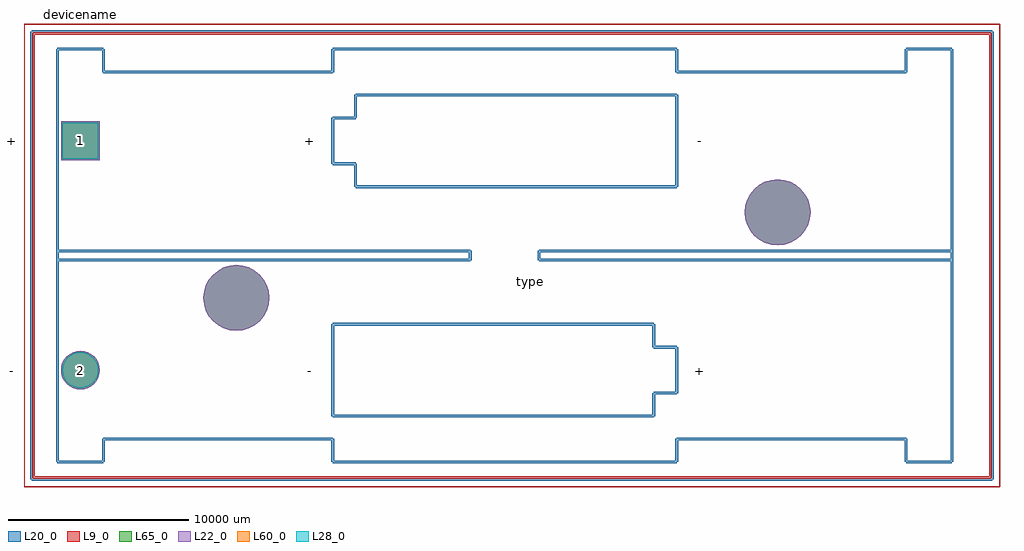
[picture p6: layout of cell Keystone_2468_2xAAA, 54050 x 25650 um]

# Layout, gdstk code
import gdstk
lib = gdstk.Library(unit=1e-6, precision=1e-09)
def R(c, l, rs):  # rectangles x0, y0, x1, y1
    for r in rs: c.add(gdstk.rectangle(r[:2], r[2:], *l))
def P(c, l, *ps):  # polygons
    for p in ps: c.add(gdstk.Polygon(p, *l))
L9_0 = (9, 0)
L20_0 = (20, 0)
L22_0 = (22, 0)
L28_0 = (28, 0)
L60_0 = (60, 0)
L65_0 = (65, 0)

keystone_2468_2xaaa = lib.new_cell('Keystone_2468_2xAAA')
R(keystone_2468_2xaaa, L22_0, [(-1075,-1075,1075,1075)])
P(keystone_2468_2xaaa, L22_0, [(40433,-3962.4),(40397.933,-3606.36),(40294.08,-3264.003),(40125.432,-2948.484),(39898.47,-2671.93),(39621.916,-2444.968),(39306.397,-2276.32),(38964.04,-2172.467),(38608,-2137.4),(38251.96,-2172.467),(37909.603,-2276.32),(37594.084,-2444.968),(37317.53,-2671.93),(37090.568,-2948.484),(36921.92,-3264.003),(36818.067,-3606.36),(36783,-3962.4),(36818.067,-4318.44),(36921.92,-4660.797),(37090.568,-4976.316),(37317.53,-5252.87),(37594.084,-5479.832),(37909.603,-5648.48),(38251.96,-5752.333),(38608,-5787.4),(38964.04,-5752.333),(39306.397,-5648.48),(39621.916,-5479.832),(39898.47,-5252.87),(40125.432,-4976.316),(40294.08,-4660.797),(40397.933,-4318.44)],
  [(10461,-8699.5),(10425.933,-8343.46),(10322.08,-8001.103),(10153.432,-7685.584),(9926.47,-7409.03),(9649.916,-7182.068),(9334.397,-7013.42),(8992.04,-6909.567),(8636,-6874.5),(8279.96,-6909.567),(7937.603,-7013.42),(7622.084,-7182.068),(7345.53,-7409.03),(7118.568,-7685.584),(6949.92,-8001.103),(6846.067,-8343.46),(6811,-8699.5),(6846.067,-9055.54),(6949.92,-9397.897),(7118.568,-9713.416),(7345.53,-9989.97),(7622.084,-10216.932),(7937.603,-10385.58),(8279.96,-10489.433),(8636,-10524.5),(8992.04,-10489.433),(9334.397,-10385.58),(9649.916,-10216.932),(9926.47,-9989.97),(10153.432,-9713.416),(10322.08,-9397.897),(10425.933,-9055.54)],
  [(1075,-12700),(1054.344,-12490.278),(993.17,-12288.615),(893.83,-12102.762),(760.14,-11939.86),(597.238,-11806.17),(411.385,-11706.83),(209.722,-11645.656),(0,-11625),(-209.722,-11645.656),(-411.385,-11706.83),(-597.238,-11806.17),(-760.14,-11939.86),(-893.83,-12102.762),(-993.17,-12288.615),(-1054.344,-12490.278),(-1075,-12700),(-1054.344,-12909.722),(-993.17,-13111.385),(-893.83,-13297.238),(-760.14,-13460.14),(-597.238,-13593.83),(-411.385,-13693.17),(-209.722,-13754.344),(0,-13775),(209.722,-13754.344),(411.385,-13693.17),(597.238,-13593.83),(760.14,-13460.14),(893.83,-13297.238),(993.17,-13111.385),(1054.344,-12909.722)])
R(keystone_2468_2xaaa, L28_0, [(-1000,-1000,1000,1000)])
P(keystone_2468_2xaaa, L28_0, [(1000,-12700),(980.785,-12504.91),(923.88,-12317.317),(831.47,-12144.43),(707.107,-11992.893),(555.57,-11868.53),(382.683,-11776.12),(195.09,-11719.215),(0,-11700),(-195.09,-11719.215),(-382.683,-11776.12),(-555.57,-11868.53),(-707.107,-11992.893),(-831.47,-12144.43),(-923.88,-12317.317),(-980.785,-12504.91),(-1000,-12700),(-980.785,-12895.09),(-923.88,-13082.683),(-831.47,-13255.57),(-707.107,-13407.107),(-555.57,-13531.47),(-382.683,-13623.88),(-195.09,-13680.785),(0,-13700),(195.09,-13680.785),(382.683,-13623.88),(555.57,-13531.47),(707.107,-13407.107),(831.47,-13255.57),(923.88,-13082.683),(980.785,-12895.09)])
R(keystone_2468_2xaaa, L60_0, [(-1000,-1000,1000,1000)])
P(keystone_2468_2xaaa, L60_0, [(1000,-12700),(980.785,-12504.91),(923.88,-12317.317),(831.47,-12144.43),(707.107,-11992.893),(555.57,-11868.53),(382.683,-11776.12),(195.09,-11719.215),(0,-11700),(-195.09,-11719.215),(-382.683,-11776.12),(-555.57,-11868.53),(-707.107,-11992.893),(-831.47,-12144.43),(-923.88,-12317.317),(-980.785,-12504.91),(-1000,-12700),(-980.785,-12895.09),(-923.88,-13082.683),(-831.47,-13255.57),(-707.107,-13407.107),(-555.57,-13531.47),(-382.683,-13623.88),(-195.09,-13680.785),(0,-13700),(195.09,-13680.785),(382.683,-13623.88),(555.57,-13531.47),(707.107,-13407.107),(831.47,-13255.57),(923.88,-13082.683),(980.785,-12895.09)])
R(keystone_2468_2xaaa, L65_0, [(-1075,-1075,1075,1075)])
P(keystone_2468_2xaaa, L65_0, [(40433,-3962.4),(40397.933,-3606.36),(40294.08,-3264.003),(40125.432,-2948.484),(39898.47,-2671.93),(39621.916,-2444.968),(39306.397,-2276.32),(38964.04,-2172.467),(38608,-2137.4),(38251.96,-2172.467),(37909.603,-2276.32),(37594.084,-2444.968),(37317.53,-2671.93),(37090.568,-2948.484),(36921.92,-3264.003),(36818.067,-3606.36),(36783,-3962.4),(36818.067,-4318.44),(36921.92,-4660.797),(37090.568,-4976.316),(37317.53,-5252.87),(37594.084,-5479.832),(37909.603,-5648.48),(38251.96,-5752.333),(38608,-5787.4),(38964.04,-5752.333),(39306.397,-5648.48),(39621.916,-5479.832),(39898.47,-5252.87),(40125.432,-4976.316),(40294.08,-4660.797),(40397.933,-4318.44)],
  [(10461,-8699.5),(10425.933,-8343.46),(10322.08,-8001.103),(10153.432,-7685.584),(9926.47,-7409.03),(9649.916,-7182.068),(9334.397,-7013.42),(8992.04,-6909.567),(8636,-6874.5),(8279.96,-6909.567),(7937.603,-7013.42),(7622.084,-7182.068),(7345.53,-7409.03),(7118.568,-7685.584),(6949.92,-8001.103),(6846.067,-8343.46),(6811,-8699.5),(6846.067,-9055.54),(6949.92,-9397.897),(7118.568,-9713.416),(7345.53,-9989.97),(7622.084,-10216.932),(7937.603,-10385.58),(8279.96,-10489.433),(8636,-10524.5),(8992.04,-10489.433),(9334.397,-10385.58),(9649.916,-10216.932),(9926.47,-9989.97),(10153.432,-9713.416),(10322.08,-9397.897),(10425.933,-9055.54)],
  [(1075,-12700),(1054.344,-12490.278),(993.17,-12288.615),(893.83,-12102.762),(760.14,-11939.86),(597.238,-11806.17),(411.385,-11706.83),(209.722,-11645.656),(0,-11625),(-209.722,-11645.656),(-411.385,-11706.83),(-597.238,-11806.17),(-760.14,-11939.86),(-893.83,-12102.762),(-993.17,-12288.615),(-1054.344,-12490.278),(-1075,-12700),(-1054.344,-12909.722),(-993.17,-13111.385),(-893.83,-13297.238),(-760.14,-13460.14),(-597.238,-13593.83),(-411.385,-13693.17),(-209.722,-13754.344),(0,-13775),(209.722,-13754.344),(411.385,-13693.17),(597.238,-13593.83),(760.14,-13460.14),(893.83,-13297.238),(993.17,-13111.385),(1054.344,-12909.722)])
keystone_2468_2xaaa.add(gdstk.FlexPath([(-2600,5950),(50400,5950)], 149.998, ends="flush", simple_path=True, layer=9, datatype=0))  # L9_0
keystone_2468_2xaaa.add(gdstk.FlexPath([(-2600,-6350),(-2600,5950)], 149.998, ends="flush", simple_path=True, layer=9, datatype=0))  # L9_0
keystone_2468_2xaaa.add(gdstk.FlexPath([(-2600,-18650),(50400,-18650)], 149.998, ends="flush", simple_path=True, layer=9, datatype=0))  # L9_0
keystone_2468_2xaaa.add(gdstk.FlexPath([(50400,-18650),(50400,5950)], 149.998, ends="flush", simple_path=True, layer=9, datatype=0))  # L9_0
keystone_2468_2xaaa.add(gdstk.FlexPath([(-2600,-18650),(-2600,-6350)], 149.998, ends="flush", simple_path=True, layer=9, datatype=0))  # L9_0
keystone_2468_2xaaa.add(gdstk.FlexPath([(45720,-17780),(45720,-16510)], 149.998, ends="flush", simple_path=True, layer=20, datatype=0))  # L20_0
keystone_2468_2xaaa.add(gdstk.FlexPath([(48260,-17780),(45720,-17780)], 149.998, ends="flush", simple_path=True, layer=20, datatype=0))  # L20_0
keystone_2468_2xaaa.add(gdstk.FlexPath([(48260,5080),(48260,-17780)], 149.998, ends="flush", simple_path=True, layer=20, datatype=0))  # L20_0
keystone_2468_2xaaa.add(gdstk.FlexPath([(45720,5080),(45720,3810)], 149.998, ends="flush", simple_path=True, layer=20, datatype=0))  # L20_0
keystone_2468_2xaaa.add(gdstk.FlexPath([(48260,5080),(45720,5080)], 149.998, ends="flush", simple_path=True, layer=20, datatype=0))  # L20_0
keystone_2468_2xaaa.add(gdstk.FlexPath([(1270,-16510),(13970,-16510)], 149.998, ends="flush", simple_path=True, layer=20, datatype=0))  # L20_0
keystone_2468_2xaaa.add(gdstk.FlexPath([(1270,-17780),(1270,-16510)], 149.998, ends="flush", simple_path=True, layer=20, datatype=0))  # L20_0
keystone_2468_2xaaa.add(gdstk.FlexPath([(-1270,-17780),(1270,-17780)], 149.998, ends="flush", simple_path=True, layer=20, datatype=0))  # L20_0
keystone_2468_2xaaa.add(gdstk.FlexPath([(-1270,5080),(-1270,-17780)], 149.998, ends="flush", simple_path=True, layer=20, datatype=0))  # L20_0
keystone_2468_2xaaa.add(gdstk.FlexPath([(1270,5080),(-1270,5080)], 149.998, ends="flush", simple_path=True, layer=20, datatype=0))  # L20_0
keystone_2468_2xaaa.add(gdstk.FlexPath([(1270,3810),(1270,5080)], 149.998, ends="flush", simple_path=True, layer=20, datatype=0))  # L20_0
keystone_2468_2xaaa.add(gdstk.FlexPath([(1270,3810),(13970,3810)], 149.998, ends="flush", simple_path=True, layer=20, datatype=0))  # L20_0
keystone_2468_2xaaa.add(gdstk.FlexPath([(45720,-16510),(33020,-16510)], 149.998, ends="flush", simple_path=True, layer=20, datatype=0))  # L20_0
keystone_2468_2xaaa.add(gdstk.FlexPath([(13970,5080),(13970,3810)], 149.998, ends="flush", simple_path=True, layer=20, datatype=0))  # L20_0
keystone_2468_2xaaa.add(gdstk.FlexPath([(33020,5080),(13970,5080)], 149.998, ends="flush", simple_path=True, layer=20, datatype=0))  # L20_0
keystone_2468_2xaaa.add(gdstk.FlexPath([(33020,3810),(33020,5080)], 149.998, ends="flush", simple_path=True, layer=20, datatype=0))  # L20_0
keystone_2468_2xaaa.add(gdstk.FlexPath([(45720,3810),(33020,3810)], 149.998, ends="flush", simple_path=True, layer=20, datatype=0))  # L20_0
keystone_2468_2xaaa.add(gdstk.FlexPath([(33020,-17780),(33020,-16510)], 149.998, ends="flush", simple_path=True, layer=20, datatype=0))  # L20_0
keystone_2468_2xaaa.add(gdstk.FlexPath([(13970,-17780),(33020,-17780)], 149.998, ends="flush", simple_path=True, layer=20, datatype=0))  # L20_0
keystone_2468_2xaaa.add(gdstk.FlexPath([(13970,-16510),(13970,-17780)], 149.998, ends="flush", simple_path=True, layer=20, datatype=0))  # L20_0
keystone_2468_2xaaa.add(gdstk.FlexPath([(25400,-6604),(48260,-6604)], 149.998, ends="flush", simple_path=True, layer=20, datatype=0))  # L20_0
keystone_2468_2xaaa.add(gdstk.FlexPath([(25400,-6096),(25400,-6604)], 149.998, ends="flush", simple_path=True, layer=20, datatype=0))  # L20_0
keystone_2468_2xaaa.add(gdstk.FlexPath([(48260,-6096),(25400,-6096)], 149.998, ends="flush", simple_path=True, layer=20, datatype=0))  # L20_0
keystone_2468_2xaaa.add(gdstk.FlexPath([(21590,-6604),(-1270,-6604)], 149.998, ends="flush", simple_path=True, layer=20, datatype=0))  # L20_0
keystone_2468_2xaaa.add(gdstk.FlexPath([(21590,-6096),(21590,-6604)], 149.998, ends="flush", simple_path=True, layer=20, datatype=0))  # L20_0
keystone_2468_2xaaa.add(gdstk.FlexPath([(-1270,-6096),(21590,-6096)], 149.998, ends="flush", simple_path=True, layer=20, datatype=0))  # L20_0
keystone_2468_2xaaa.add(gdstk.FlexPath([(33020,2540),(33020,1270)], 149.998, ends="flush", simple_path=True, layer=20, datatype=0))  # L20_0
keystone_2468_2xaaa.add(gdstk.FlexPath([(15240,2540),(33020,2540)], 149.998, ends="flush", simple_path=True, layer=20, datatype=0))  # L20_0
keystone_2468_2xaaa.add(gdstk.FlexPath([(15240,1270),(15240,2540)], 149.998, ends="flush", simple_path=True, layer=20, datatype=0))  # L20_0
keystone_2468_2xaaa.add(gdstk.FlexPath([(13970,1270),(15240,1270)], 149.998, ends="flush", simple_path=True, layer=20, datatype=0))  # L20_0
keystone_2468_2xaaa.add(gdstk.FlexPath([(13970,-1270),(13970,1270)], 149.998, ends="flush", simple_path=True, layer=20, datatype=0))  # L20_0
keystone_2468_2xaaa.add(gdstk.FlexPath([(15240,-1270),(13970,-1270)], 149.998, ends="flush", simple_path=True, layer=20, datatype=0))  # L20_0
keystone_2468_2xaaa.add(gdstk.FlexPath([(15240,-2540),(15240,-1270)], 149.998, ends="flush", simple_path=True, layer=20, datatype=0))  # L20_0
keystone_2468_2xaaa.add(gdstk.FlexPath([(33020,-2540),(15240,-2540)], 149.998, ends="flush", simple_path=True, layer=20, datatype=0))  # L20_0
keystone_2468_2xaaa.add(gdstk.FlexPath([(33020,1270),(33020,-2540)], 149.998, ends="flush", simple_path=True, layer=20, datatype=0))  # L20_0
keystone_2468_2xaaa.add(gdstk.FlexPath([(31750,-15240),(13970,-15240)], 149.998, ends="flush", simple_path=True, layer=20, datatype=0))  # L20_0
keystone_2468_2xaaa.add(gdstk.FlexPath([(31750,-13970),(31750,-15240)], 149.998, ends="flush", simple_path=True, layer=20, datatype=0))  # L20_0
keystone_2468_2xaaa.add(gdstk.FlexPath([(33020,-13970),(31750,-13970)], 149.998, ends="flush", simple_path=True, layer=20, datatype=0))  # L20_0
keystone_2468_2xaaa.add(gdstk.FlexPath([(33020,-11430),(33020,-13970)], 149.998, ends="flush", simple_path=True, layer=20, datatype=0))  # L20_0
keystone_2468_2xaaa.add(gdstk.FlexPath([(31750,-11430),(33020,-11430)], 149.998, ends="flush", simple_path=True, layer=20, datatype=0))  # L20_0
keystone_2468_2xaaa.add(gdstk.FlexPath([(31750,-10160),(31750,-11430)], 149.998, ends="flush", simple_path=True, layer=20, datatype=0))  # L20_0
keystone_2468_2xaaa.add(gdstk.FlexPath([(13970,-10160),(31750,-10160)], 149.998, ends="flush", simple_path=True, layer=20, datatype=0))  # L20_0
keystone_2468_2xaaa.add(gdstk.FlexPath([(13970,-15240),(13970,-10160)], 149.998, ends="flush", simple_path=True, layer=20, datatype=0))  # L20_0
keystone_2468_2xaaa.add(gdstk.FlexPath([(50500,6050),(-2700,6050)], 149.998, ends="flush", simple_path=True, layer=20, datatype=0))  # L20_0
keystone_2468_2xaaa.add(gdstk.FlexPath([(-2700,6050),(-2700,-18750)], 149.998, ends="flush", simple_path=True, layer=20, datatype=0))  # L20_0
keystone_2468_2xaaa.add(gdstk.FlexPath([(-2700,-18750),(50500,-18750)], 149.998, ends="flush", simple_path=True, layer=20, datatype=0))  # L20_0
keystone_2468_2xaaa.add(gdstk.FlexPath([(50500,-18750),(50500,6050)], 149.998, ends="flush", simple_path=True, layer=20, datatype=0))  # L20_0
keystone_2468_2xaaa.add(gdstk.FlexPath([(50900,6450),(-3100,6450)], 50, ends="flush", simple_path=True, layer=9, datatype=0))  # L9_0
keystone_2468_2xaaa.add(gdstk.FlexPath([(-3100,6450),(-3100,-19150)], 50, ends="flush", simple_path=True, layer=9, datatype=0))  # L9_0
keystone_2468_2xaaa.add(gdstk.FlexPath([(-3100,-19150),(50900,-19150)], 50, ends="flush", simple_path=True, layer=9, datatype=0))  # L9_0
keystone_2468_2xaaa.add(gdstk.FlexPath([(50900,-19150),(50900,6450)], 50, ends="flush", simple_path=True, layer=9, datatype=0))  # L9_0
keystone_2468_2xaaa.add(gdstk.Label('2', (0,-12700), layer=28, texttype=0))
keystone_2468_2xaaa.add(gdstk.Label('1', (0,0), layer=28, texttype=0))
keystone_2468_2xaaa.add(gdstk.Label('-', (-3810,-12700), layer=9, texttype=0))
keystone_2468_2xaaa.add(gdstk.Label('+', (-3810,0), layer=9, texttype=0))
keystone_2468_2xaaa.add(gdstk.Label('-', (12700,-12700), layer=9, texttype=0))
keystone_2468_2xaaa.add(gdstk.Label('+', (34290,-12700), layer=9, texttype=0))
keystone_2468_2xaaa.add(gdstk.Label('+', (12700,0), layer=9, texttype=0))
keystone_2468_2xaaa.add(gdstk.Label('-', (34290,0), layer=9, texttype=0))
keystone_2468_2xaaa.add(gdstk.Label('type', (24950,-7800), layer=9, texttype=0))
keystone_2468_2xaaa.add(gdstk.Label('devicename', (0,7000), layer=9, texttype=0))

lib.write_gds('Keystone_2468_2xAAA.gds')
